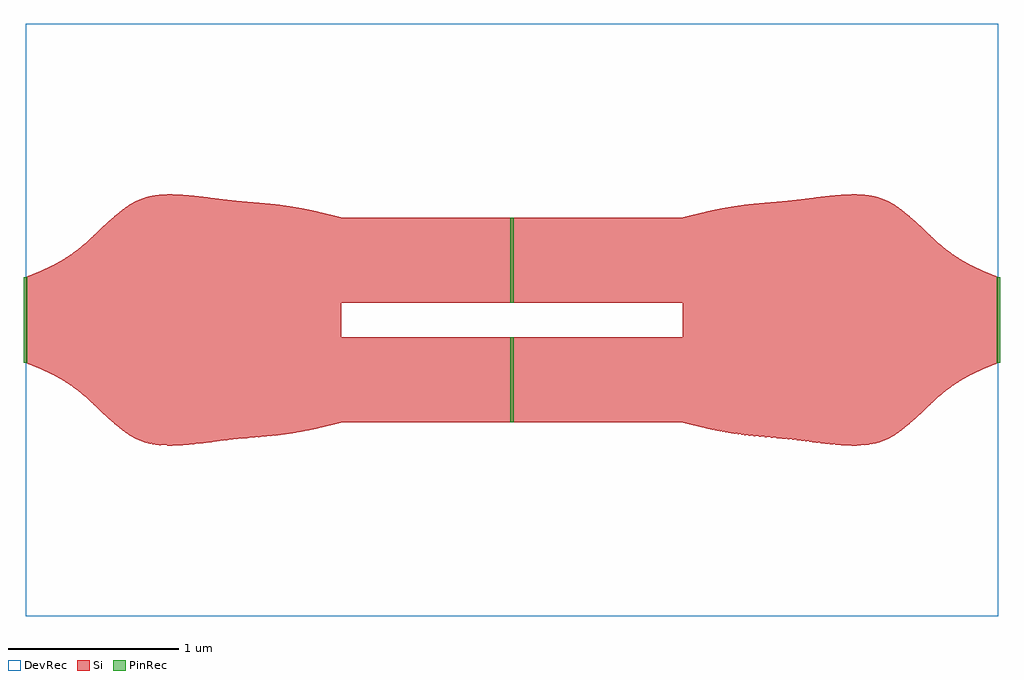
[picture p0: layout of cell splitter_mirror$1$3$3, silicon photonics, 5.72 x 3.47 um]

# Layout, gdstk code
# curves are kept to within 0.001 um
from math import pi, radians
import gdstk
lib = gdstk.Library(unit=1e-6, precision=1e-09)
def R(c, l, rs):  # rectangles x0, y0, x1, y1
    for r in rs: c.add(gdstk.rectangle(r[:2], r[2:], *l))
def P(c, l, *ps):  # polygons
    for p in ps: c.add(gdstk.Polygon(p, *l))
Si = (1, 0)
PinRec = (1, 10)
DevRec = (68, 0)

main_cell_2_3_3 = lib.new_cell('main_cell$2$3$3')
R(main_cell_2_3_3, Si, [(1.85,0.136,2.85,0.636), (1.85,0.836,2.85,1.336)])
P(main_cell_2_3_3, Si, [(0.097,0.445),(0.062,0.461),(0,0.486),(0,0.986),(0.098,1.027)],
  [(0.194,0.397),(0.164,0.414),(0.098,0.445),(0.098,1.027),(0.14,1.046),(0.195,1.075)],
  [(0.291,0.334),(0.242,0.369),(0.195,0.397),(0.195,1.075),(0.242,1.103),(0.292,1.138)],
  [(0.39,0.25),(0.346,0.29),(0.292,0.334),(0.292,1.138),(0.332,1.17),(0.39,1.222)],
  [(0.487,0.158),(0.39,0.25),(0.39,1.222),(0.487,1.314)],
  [(0.584,0.078),(0.542,0.11),(0.487,0.158),(0.487,1.314),(0.542,1.362),(0.584,1.394)],
  [(0.681,0.026),(0.632,0.048),(0.584,0.078),(0.584,1.394),(0.632,1.424),(0.681,1.446)],
  [(0.773,0.004),(0.728,0.012),(0.681,0.026),(0.681,1.446),(0.728,1.46),(0.759,1.466),(0.779,1.468),(0.779,0.004)],
  [(0.83,0),(0.779,0.004),(0.779,1.468),(0.806,1.471),(0.858,1.472),(0.876,1.471),(0.876,0.001)],
  [(0.876,0.001),(0.876,1.471),(0.887,1.471),(0.974,1.464),(0.974,0.008),(0.933,0.004)],
  [(0.974,0.008),(0.974,1.464),(0.977,1.464),(1.071,1.453),(1.071,0.019)],
  [(1.071,0.019),(1.071,1.453),(1.074,1.453),(1.169,1.441),(1.169,0.031)],
  [(1.169,0.031),(1.169,1.441),(1.172,1.441),(1.266,1.43),(1.266,0.042)],
  [(1.266,0.042),(1.266,1.43),(1.276,1.43),(1.363,1.422),(1.363,0.05)],
  [(1.363,0.05),(1.363,1.422),(1.368,1.422),(1.46,1.413),(1.46,0.059)],
  [(1.46,0.059),(1.46,1.413),(1.463,1.413),(1.558,1.4),(1.558,0.072),(1.513,0.065)],
  [(1.558,0.072),(1.558,1.4),(1.56,1.4),(1.655,1.382),(1.655,0.09)],
  [(1.655,0.09),(1.656,1.382),(1.752,1.36),(1.752,0.112)],
  [(1.752,0.112),(1.752,1.36),(1.754,1.36),(1.85,1.336),(1.85,0.136)])
R(main_cell_2_3_3, DevRec, [(0,-1,2.85,2.472)])
main_cell_2_3_3.add(gdstk.FlexPath([(0.01,0.736),(-0.01,0.736)], 0.5, ends="flush", simple_path=True, layer=1, datatype=10))  # PinRec
main_cell_2_3_3.add(gdstk.FlexPath([(2.84,1.086),(2.86,1.086)], 0.5, ends="flush", simple_path=True, layer=1, datatype=10))  # PinRec
main_cell_2_3_3.add(gdstk.FlexPath([(2.84,0.386),(2.86,0.386)], 0.5, ends="flush", simple_path=True, layer=1, datatype=10))  # PinRec
main_cell_2_3_3.add(gdstk.Label('opt1', (0,0.736), layer=1, texttype=10))
main_cell_2_3_3.add(gdstk.Label('opt2', (2.85,1.086), layer=1, texttype=10))
main_cell_2_3_3.add(gdstk.Label('opt3', (2.85,0.386), layer=1, texttype=10))

main_cell_1_1_3_3 = lib.new_cell('main_cell$1$1$3$3')
R(main_cell_1_1_3_3, Si, [(1.85,0.136,2.85,0.636), (1.85,0.836,2.85,1.336)])
P(main_cell_1_1_3_3, Si, [(0.097,0.445),(0.062,0.461),(0,0.486),(0,0.986),(0.098,1.027)],
  [(0.194,0.397),(0.164,0.414),(0.098,0.445),(0.098,1.027),(0.14,1.046),(0.195,1.075)],
  [(0.291,0.334),(0.242,0.369),(0.195,0.397),(0.195,1.075),(0.242,1.103),(0.292,1.138)],
  [(0.39,0.25),(0.346,0.29),(0.292,0.334),(0.292,1.138),(0.332,1.17),(0.39,1.222)],
  [(0.487,0.158),(0.39,0.25),(0.39,1.222),(0.487,1.314)],
  [(0.584,0.078),(0.542,0.11),(0.487,0.158),(0.487,1.314),(0.542,1.362),(0.584,1.394)],
  [(0.681,0.026),(0.632,0.048),(0.584,0.078),(0.584,1.394),(0.632,1.424),(0.681,1.446)],
  [(0.773,0.004),(0.728,0.012),(0.681,0.026),(0.681,1.446),(0.728,1.46),(0.759,1.466),(0.779,1.468),(0.779,0.004)],
  [(0.83,0),(0.779,0.004),(0.779,1.468),(0.806,1.471),(0.858,1.472),(0.876,1.471),(0.876,0.001)],
  [(0.876,0.001),(0.876,1.471),(0.887,1.471),(0.974,1.464),(0.974,0.008),(0.933,0.004)],
  [(0.974,0.008),(0.974,1.464),(0.977,1.464),(1.071,1.453),(1.071,0.019)],
  [(1.071,0.019),(1.071,1.453),(1.074,1.453),(1.169,1.441),(1.169,0.031)],
  [(1.169,0.031),(1.169,1.441),(1.172,1.441),(1.266,1.43),(1.266,0.042)],
  [(1.266,0.042),(1.266,1.43),(1.276,1.43),(1.363,1.422),(1.363,0.05)],
  [(1.363,0.05),(1.363,1.422),(1.368,1.422),(1.46,1.413),(1.46,0.059)],
  [(1.46,0.059),(1.46,1.413),(1.463,1.413),(1.558,1.4),(1.558,0.072),(1.513,0.065)],
  [(1.558,0.072),(1.558,1.4),(1.56,1.4),(1.655,1.382),(1.655,0.09)],
  [(1.655,0.09),(1.656,1.382),(1.752,1.36),(1.752,0.112)],
  [(1.752,0.112),(1.752,1.36),(1.754,1.36),(1.85,1.336),(1.85,0.136)])
R(main_cell_1_1_3_3, DevRec, [(0,-1,2.85,2.472)])
main_cell_1_1_3_3.add(gdstk.FlexPath([(0.01,0.736),(-0.01,0.736)], 0.5, ends="flush", simple_path=True, layer=1, datatype=10))  # PinRec
main_cell_1_1_3_3.add(gdstk.FlexPath([(2.84,1.086),(2.86,1.086)], 0.5, ends="flush", simple_path=True, layer=1, datatype=10))  # PinRec
main_cell_1_1_3_3.add(gdstk.FlexPath([(2.84,0.386),(2.86,0.386)], 0.5, ends="flush", simple_path=True, layer=1, datatype=10))  # PinRec
main_cell_1_1_3_3.add(gdstk.Label('opt1', (0,0.736), layer=1, texttype=10))
main_cell_1_1_3_3.add(gdstk.Label('opt2', (2.85,1.086), layer=1, texttype=10))
main_cell_1_1_3_3.add(gdstk.Label('opt3', (2.85,0.386), layer=1, texttype=10))

splitter_mirror_1_3_3 = lib.new_cell('splitter_mirror$1$3$3')
splitter_mirror_1_3_3.add(gdstk.Reference(main_cell_2_3_3, (0,-0.736)))
splitter_mirror_1_3_3.add(gdstk.Reference(main_cell_1_1_3_3, (5.7,0.736), rotation=pi))

lib.write_gds('splitter_mirror_1_3_3.gds')
